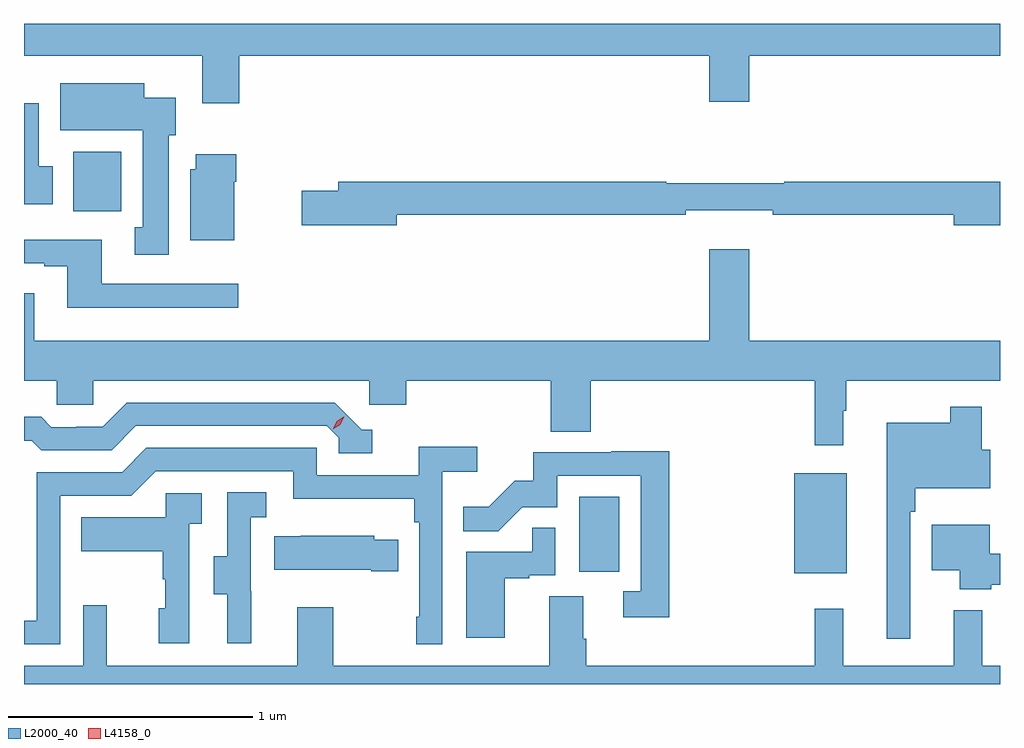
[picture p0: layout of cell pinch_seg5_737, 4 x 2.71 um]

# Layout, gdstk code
import gdstk
lib = gdstk.Library(unit=1e-6, precision=1e-09)
def R(c, l, rs):  # rectangles x0, y0, x1, y1
    for r in rs: c.add(gdstk.rectangle(r[:2], r[2:], *l))
def P(c, l, *ps):  # polygons
    for p in ps: c.add(gdstk.Polygon(p, *l))
L2000_40 = (2000, 40)
L4158_0 = (4158, 0)

pinch_seg5_737 = lib.new_cell('pinch_seg5_737')
R(pinch_seg5_737, L2000_40, [(860.66,913.247,860.875,913.657), (859.778,913.254,859.942,913.561), (857.705,914.732,857.902,914.974)])
P(pinch_seg5_737, L2000_40, [(858.386,915.368),(860.312,915.368),(860.312,915.18),(860.476,915.18),(860.476,915.368),(861.503,915.368),(861.503,915.5),(857.503,915.5),(857.503,915.368),(858.233,915.368),(858.233,915.174),(858.386,915.174)],
  [(858.097,915.042),(858.124,915.042),(858.124,915.196),(857.995,915.196),(857.995,915.256),(857.651,915.256),(857.651,915.062),(857.99,915.062),(857.99,914.666),(857.957,914.666),(857.957,914.553),(858.097,914.553)],
  [(857.62,914.916),(857.563,914.916),(857.563,915.174),(857.503,915.174),(857.503,914.76),(857.62,914.76)],
  [(858.364,914.852),(858.372,914.852),(858.372,914.965),(858.206,914.965),(858.206,914.904),(858.185,914.904),(858.185,914.612),(858.364,914.612)],
  [(859.03,914.716),(860.216,914.716),(860.216,914.735),(860.572,914.735),(860.572,914.716),(861.314,914.716),(861.314,914.674),(861.503,914.674),(861.503,914.852),(860.618,914.852),(860.618,914.845),(860.136,914.845),(860.136,914.852),(858.791,914.852),(858.791,914.816),(858.642,914.816),(858.642,914.674),(859.03,914.674)],
  [(858.382,914.433),(857.821,914.433),(857.821,914.614),(857.503,914.614),(857.503,914.517),(857.585,914.517),(857.585,914.505),(857.681,914.505),(857.681,914.336),(858.382,914.336)],
  [(860.86,913.913),(860.872,913.913),(860.872,914.036),(861.503,914.036),(861.503,914.2),(860.476,914.2),(860.476,914.575),(860.312,914.575),(860.312,914.2),(857.545,914.2),(857.545,914.395),(857.503,914.395),(857.503,914.036),(857.637,914.036),(857.637,913.938),(857.787,913.938),(857.787,914.036),(858.918,914.036),(858.918,913.938),(859.07,913.938),(859.07,914.036),(859.661,914.036),(859.661,913.828),(859.826,913.828),(859.826,914.036),(860.743,914.036),(860.743,913.773),(860.86,913.773)],
  [(858.931,913.836),(858.888,913.836),(858.777,913.947),(857.924,913.947),(857.825,913.848),(857.718,913.848),(857.718,913.845),(857.615,913.845),(857.573,913.888),(857.503,913.888),(857.503,913.791),(857.534,913.791),(857.573,913.752),(857.862,913.752),(857.961,913.851),(858.744,913.851),(858.792,913.803),(858.792,913.74),(858.931,913.74)],
  [(861.135,913.499),(861.155,913.499),(861.155,913.595),(861.463,913.595),(861.463,913.753),(861.428,913.753),(861.428,913.93),(861.3,913.93),(861.3,913.864),(861.038,913.864),(861.038,912.978),(861.135,912.978)],
  [(857.652,913.566),(857.943,913.566),(858.042,913.665),(858.606,913.665),(858.606,913.553),(859.102,913.553),(859.102,913.457),(859.122,913.457),(859.122,913.069),(859.11,913.069),(859.11,912.957),(859.218,912.957),(859.218,913.664),(859.36,913.664),(859.36,913.766),(859.121,913.766),(859.121,913.65),(858.702,913.65),(858.702,913.761),(858.005,913.761),(857.906,913.662),(857.556,913.662),(857.556,913.053),(857.503,913.053),(857.503,912.957),(857.652,912.957)],
  [(860.147,913.748),(859.909,913.748),(859.909,913.743),(859.591,913.743),(859.591,913.626),(859.514,913.626),(859.407,913.519),(859.303,913.519),(859.303,913.42),(859.447,913.42),(859.545,913.518),(859.689,913.518),(859.689,913.647),(860.031,913.647),(860.031,913.173),(859.959,913.173),(859.959,913.068),(860.147,913.068)],
  [(858.434,913.173),(858.432,913.173),(858.432,913.477),(858.496,913.477),(858.496,913.58),(858.336,913.58),(858.336,913.317),(858.281,913.317),(858.281,913.162),(858.335,913.162),(858.335,912.96),(858.434,912.96)],
  [(858.18,913.451),(858.232,913.451),(858.232,913.575),(858.084,913.575),(858.084,913.477),(857.737,913.477),(857.737,913.337),(858.072,913.337),(858.072,913.223),(858.082,913.223),(858.082,913.104),(858.056,913.104),(858.056,912.96),(858.18,912.96)],
  [(861.468,913.2),(861.503,913.2),(861.503,913.328),(861.46,913.328),(861.46,913.447),(861.224,913.447),(861.224,913.259),(861.338,913.259),(861.338,913.181),(861.468,913.181)],
  [(859.474,913.227),(859.574,913.227),(859.574,913.239),(859.68,913.239),(859.68,913.433),(859.585,913.433),(859.585,913.335),(859.316,913.335),(859.316,912.984),(859.474,912.984)],
  [(859.037,913.384),(858.939,913.384),(858.939,913.402),(858.637,913.402),(858.637,913.399),(858.529,913.399),(858.529,913.262),(858.926,913.262),(858.926,913.255),(859.037,913.255)],
  [(861.503,912.868),(861.431,912.868),(861.431,913.096),(861.314,913.096),(861.314,912.868),(860.861,912.868),(860.861,913.102),(860.743,913.102),(860.743,912.868),(859.808,912.868),(859.808,912.98),(859.795,912.98),(859.795,913.154),(859.655,913.154),(859.655,912.868),(858.771,912.868),(858.771,913.108),(858.623,913.108),(858.623,912.868),(857.843,912.868),(857.843,913.117),(857.745,913.117),(857.745,912.868),(857.503,912.868),(857.503,912.792),(861.503,912.792)])
P(pinch_seg5_737, L4158_0, [(858.768,913.837),(858.768,913.837),(858.784,913.87),(858.814,913.889),(858.815,913.889),(858.815,913.889),(858.799,913.856),(858.768,913.837)])

lib.write_gds('pinch_seg5_737.gds')
